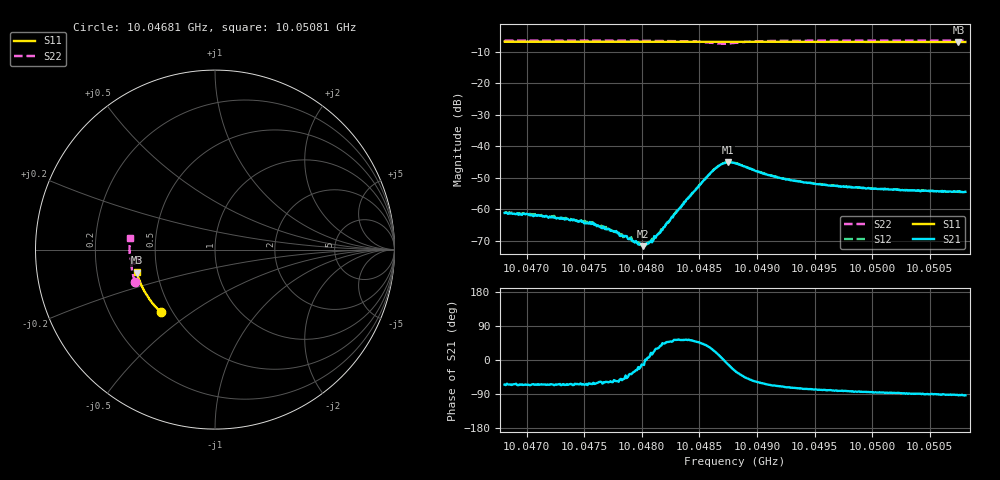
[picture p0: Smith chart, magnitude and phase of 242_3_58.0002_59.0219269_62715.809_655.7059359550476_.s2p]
#  HZ  S  RI  R  50.00
! Rohde & Schwarz Vector Network Analyzer
! Rohde-Schwarz,ZNB20-2Port,1311601062101988,3.16
! Created: UTC 3/21/2024, 1:01:07 AM
! freq[Hz]  re:S11  im:S11  re:S21  im:S21  re:S12  im:S12  re:S22  im:S22
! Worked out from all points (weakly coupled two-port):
!   401 points, 10.04681 GHz to 10.05081 GHz, reference 50 ohm
!   highest |S21| = -45.12 dB at 10.04875 GHz (marker M1); lowest = -71.7 dB at 10.04801 GHz (marker M2)
!   lowest |S11| = -6.9 dB at 10.05075 GHz (marker M3), VSWR 2.66, Z = 19.1 - j6.18 ohm
!   |S11| at or under -10 dB: nowhere
!   |S22| runs from -7.4 to -6.4 dB; largest |S21 - S12| = 0.00038
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1.004681e10  -0.3025 -0.3476  0.000364 -0.000786  0.000429 -0.000764  -0.4433 -0.1829
1.004708e10  -0.3154 -0.3351  0.000346 -0.000725  0.000409 -0.000723  -0.4494 -0.1656
1.004748e10  -0.3335 -0.3158  0.000265 -0.00057  0.000315 -0.000566  -0.4575 -0.1389
1.004757e10  -0.3374 -0.3114  0.000261 -0.000523  0.000311 -0.000538  -0.459 -0.1328
1.004778e10  -0.3465 -0.3008  0.000253 -0.00037  0.000283 -0.000329  -0.4622 -0.1178
1.004783e10  -0.3484 -0.298  0.000228 -0.000306  0.000263 -0.000294  -0.4627 -0.1141
1.004785e10  -0.3493 -0.297  0.000237 -0.000278  0.000289 -0.000239  -0.463 -0.1126
1.004796e10  -0.354 -0.2913  0.00026 -0.000131  0.00028 -9.79e-05  -0.4641 -0.104
1.004801e10  -0.3558 -0.2888  0.000254 -5.59e-05  0.000256 -2.63e-05  -0.4645 -0.1001
1.004808e10  -0.3586 -0.285  0.000298 0.000103  0.000272 0.000115  -0.4649 -0.0944
1.004815e10  -0.3614 -0.2814  0.000345 0.000224  0.000325 0.000262  -0.4652 -0.0885
1.004839e10  -0.3705 -0.2683  0.000859 0.00114  0.000811 0.00116  -0.4613 -0.0652
1.004861e10  -0.3782 -0.2559  0.00345 0.00188  0.00337 0.0021  -0.4368 -0.0475
1.004868e10  -0.3806 -0.2522  0.00494 0.00087  0.00492 0.00116  -0.4244 -0.055
1.0048749e10  -0.3828 -0.2485  0.00543 -0.00114  0.00551 -0.000797  -0.423 -0.0706
1.0048809e10  -0.3848 -0.2452  0.00471 -0.00258  0.0049 -0.00229  -0.4323 -0.0795
1.0049109e10  -0.3949 -0.2283  0.00143 -0.00314  0.00166 -0.00306  -0.4664 -0.0605
1.0049479e10  -0.4062 -0.2064  0.000562 -0.00251  0.000697 -0.0025  -0.4744 -0.0291
1.0049799e10  -0.4149 -0.1873  0.000308 -0.00224  0.000439 -0.00223  -0.4761 -0.0051
1.0050149e10  -0.4233 -0.1661  0.000134 -0.00205  0.000243 -0.00205  -0.4758 0.0196
1.0050749e10  -0.435 -0.1284  -0.000107 -0.0019  2.12e-05 -0.00188  -0.4722 0.0604
1.0050809e10  -0.4363 -0.1246  -0.000102 -0.00188  3.4e-05 -0.00186  -0.4717 0.0642
